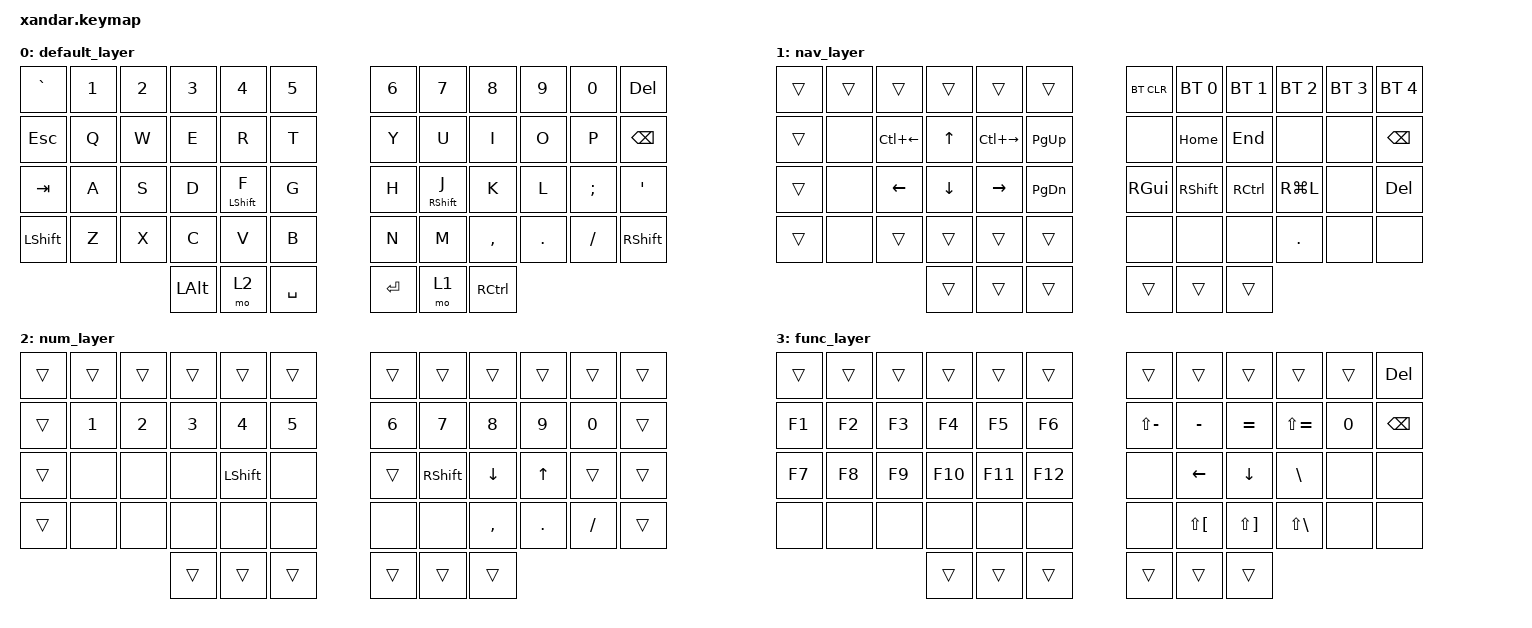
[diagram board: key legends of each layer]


#include <behaviors.dtsi>
#include <dt-bindings/zmk/keys.h>
#include <dt-bindings/zmk/bt.h>
#include <dt-bindings/zmk/outputs.h>

/ {
    conditional_layers {
        compatible = "zmk,conditional-layers";
        tri_layer {
            if-layers = <1 2>;
            then-layer = <3>;
        };
    };

    keymap {
        compatible = "zmk,keymap";

        default_layer {
// ------------------------------------------------------------------------------------------------------------
// | GRAVE |  1  |  2  |  3   |  4   |  5   |                   |  6   |  7    |  8    |  9   |   0   | DEL   |
// | ESC   |  Q  |  W  |  E   |  R   |  T   |                   |  Y   |  U    |  I    |  O   |   P   | BSPC  |
// | TAB   |  A  |  S  |  D   |SHFT/F|  G   |                   |  H   | SHFT/J|  K    |  L   |   ;   |   '   |
// | SHIFT |  Z  |  X  |  C   |  V   |  B   |                   |  N   |  M    |  ,    |  .   |   /   | SHIFT |
//                     | ALT  | LOWER| SPACE|                   | ENTER| RAISE |  CTRL  |
            bindings = <
&kp GRAVE &kp N1 &kp N2 &kp N3 &kp N4      &kp N5               &kp N6  &kp N7      &kp N8    &kp N9  &kp N0   &kp DEL
&kp ESC   &kp Q  &kp W  &kp E  &kp R       &kp T                &kp Y   &kp U       &kp I     &kp O   &kp P    &kp BSPC
&kp TAB   &kp A  &kp S  &kp D  &mt LSHFT F &kp G                &kp H   &mt RSHFT J &kp K     &kp L   &kp SEMI &kp SQT
&kp LSHFT &kp Z  &kp X  &kp C  &kp V       &kp B                &kp N   &kp M       &kp COMMA &kp DOT &kp FSLH &kp RSHFT
                        &kp LALT &mo 2     &kp SPACE            &kp RET &mo 1       &kp RCTRL
            >;
        };

        nav_layer {
            bindings = <
&trans  &trans &trans       &trans    &trans        &trans            &bt BT_CLR &bt BT_SEL 0 &bt BT_SEL 1 &bt BT_SEL 2 &bt BT_SEL 3 &bt BT_SEL 4
&trans  &none  &kp LC(LEFT) &kp UP    &kp LC(RIGHT) &kp PG_UP         &none      &kp HOME     &kp END      &none        &none        &kp BSPC
&trans  &none  &kp LEFT     &kp DOWN  &kp RIGHT     &kp PG_DN         &kp RGUI   &kp RSHIFT   &kp RCTRL    &kp RG(L)    &none        &kp DEL
&trans  &none  &trans       &trans    &trans        &trans            &none      &none        &none        &kp DOT      &none        &none
                            &trans    &trans        &trans            &trans     &trans       &trans
            >;
        };

        num_layer {
            bindings = <
&trans    &trans &trans &trans  &trans    &trans                       &trans      &trans    &trans    &trans   &trans    &trans 
&trans    &kp N1 &kp N2 &kp N3  &kp N4    &kp N5                       &kp N6      &kp N7    &kp N8    &kp N9   &kp N0    &trans
&trans    &none  &none  &none   &kp LSHFT &none                        &trans      &kp RSHFT &kp DOWN  &kp UP   &trans    &trans
&trans    &none  &none  &none   &none     &none                        &none       &none     &kp COMMA &kp DOT  &kp FSLH  &trans
                        &trans  &trans    &trans                       &trans      &trans    &trans
            >;
        };

        func_layer {
            bindings = <
&trans    &trans   &trans   &trans   &trans   &trans                 &trans        &trans       &trans         &trans        &trans    &kp DEL
&kp F1    &kp F2   &kp F3   &kp F4   &kp F5   &kp F6                 &kp LS(MINUS) &kp MINUS    &kp EQUAL      &kp LS(EQUAL) &kp N0    &kp BSPC
&kp F7    &kp F8   &kp F9   &kp F10  &kp F11  &kp F12                &none         &kp LEFT     &kp DOWN       &kp BSLH      &none     &none
&none     &none    &none    &none    &none    &none                  &none         &kp LS(LBKT) &kp LS(RBKT)   &kp LS(BSLH)  &none     &none
                            &trans   &trans   &trans                 &trans        &trans       &trans
            >;
        };
    };
};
